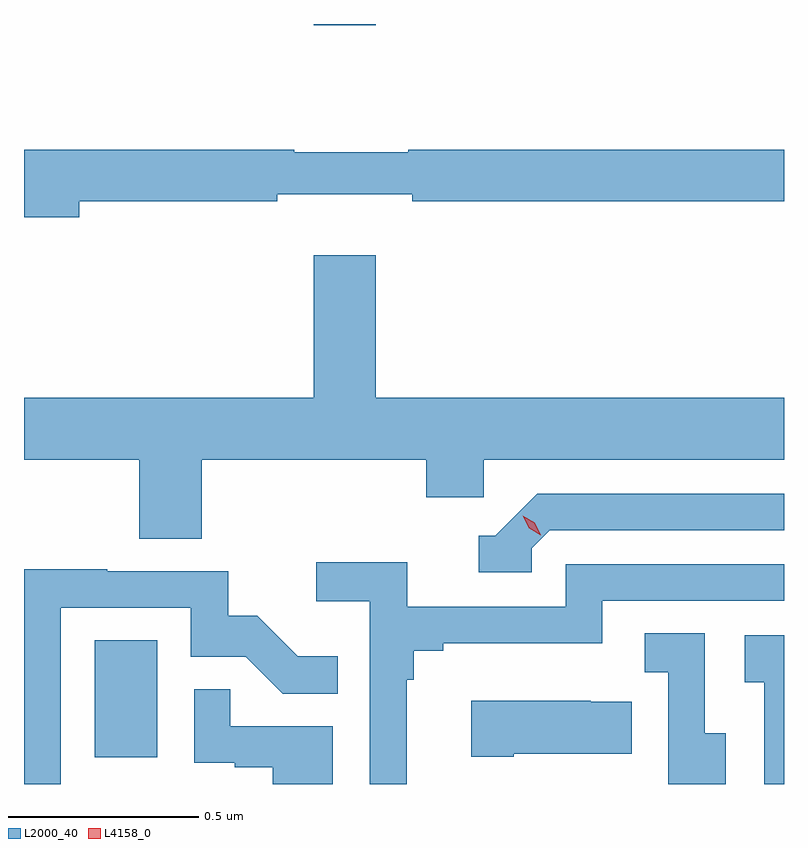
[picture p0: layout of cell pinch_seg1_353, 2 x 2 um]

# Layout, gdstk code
import gdstk
lib = gdstk.Library(unit=1e-6, precision=1e-09)
def R(c, l, rs):  # rectangles x0, y0, x1, y1
    for r in rs: c.add(gdstk.rectangle(r[:2], r[2:], *l))
def P(c, l, *ps):  # polygons
    for p in ps: c.add(gdstk.Polygon(p, *l))
L2000_40 = (2000, 40)
L4158_0 = (4158, 0)

pinch_seg1_353 = lib.new_cell('pinch_seg1_353')
R(pinch_seg1_353, L2000_40, [(955.64,553.614,955.804,553.921), (956.216,555.54,956.38,555.543)])
P(pinch_seg1_353, L2000_40, [(955.6,555.076),(956.12,555.076),(956.12,555.095),(956.476,555.095),(956.476,555.076),(957.454,555.076),(957.454,555.212),(956.465,555.212),(956.465,555.205),(956.165,555.205),(956.165,555.212),(955.454,555.212),(955.454,555.034),(955.6,555.034)],
  [(955.922,554.396),(956.513,554.396),(956.513,554.298),(956.664,554.298),(956.664,554.396),(957.454,554.396),(957.454,554.56),(956.38,554.56),(956.38,554.935),(956.216,554.935),(956.216,554.56),(955.454,554.56),(955.454,554.396),(955.757,554.396),(955.757,554.188),(955.922,554.188)],
  [(956.79,554.163),(956.838,554.211),(957.454,554.211),(957.454,554.307),(956.805,554.307),(956.694,554.196),(956.651,554.196),(956.651,554.1),(956.79,554.1)],
  [(956.461,553.817),(956.48,553.817),(956.48,553.894),(956.557,553.894),(956.557,553.913),(956.976,553.913),(956.976,554.025),(957.454,554.025),(957.454,554.121),(956.88,554.121),(956.88,554.01),(956.462,554.01),(956.462,554.126),(956.223,554.126),(956.223,554.024),(956.364,554.024),(956.364,553.543),(956.461,553.543)],
  [(955.551,554.007),(955.893,554.007),(955.893,553.878),(956.037,553.878),(956.135,553.78),(956.279,553.78),(956.279,553.879),(956.175,553.879),(956.068,553.986),(955.992,553.986),(955.992,554.103),(955.673,554.103),(955.673,554.108),(955.455,554.108),(955.455,553.543),(955.551,553.543)],
  [(957.301,553.677),(957.246,553.677),(957.246,553.94),(957.087,553.94),(957.087,553.837),(957.15,553.837),(957.15,553.543),(957.301,553.543)],
  [(957.454,553.935),(957.351,553.935),(957.351,553.811),(957.402,553.811),(957.402,553.543),(957.454,553.543)],
  [(956.266,553.695),(955.997,553.695),(955.997,553.793),(955.902,553.793),(955.902,553.599),(956.009,553.599),(956.009,553.587),(956.108,553.587),(956.108,553.543),(956.266,553.543)],
  [(956.743,553.622),(957.053,553.622),(957.053,553.759),(956.945,553.759),(956.945,553.762),(956.631,553.762),(956.631,553.615),(956.743,553.615)])
P(pinch_seg1_353, L4158_0, [(956.814,554.197),(956.783,554.216),(956.767,554.249),(956.767,554.249),(956.767,554.249),(956.798,554.23),(956.814,554.197),(956.814,554.197)])

lib.write_gds('pinch_seg1_353.gds')
